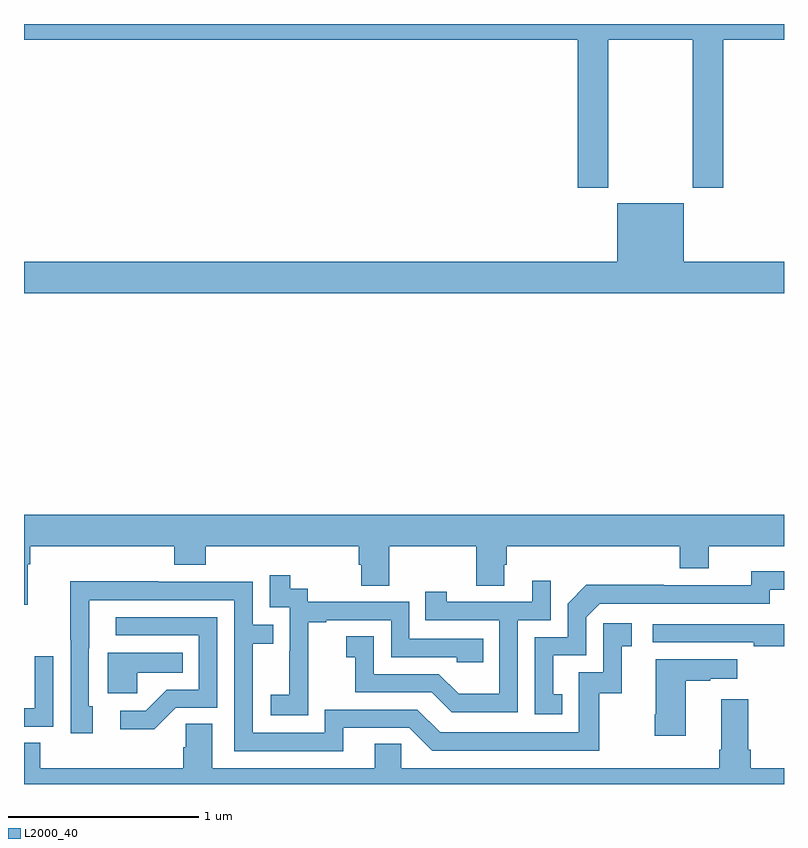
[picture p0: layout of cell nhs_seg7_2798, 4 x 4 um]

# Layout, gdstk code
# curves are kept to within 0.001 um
import gdstk
lib = gdstk.Library(unit=1e-6, precision=1e-09)
def P(c, l, *ps):  # polygons
    for p in ps: c.add(gdstk.Polygon(p, *l))
L2000_40 = (2000, 40)

nhs_seg7_2798 = lib.new_cell('nhs_seg7_2798')
P(nhs_seg7_2798, L2000_40, [(294.075,1033.916),(294.52,1033.916),(294.52,1033.137),(294.68,1033.137),(294.68,1033.916),(295,1033.916),(295,1034),(291,1034),(291,1033.916),(293.915,1033.916),(293.915,1033.137),(294.075,1033.137)],
  [(295,1032.748),(294.472,1032.748),(294.472,1033.057),(294.122,1033.057),(294.122,1032.748),(291,1032.748),(291,1032.584),(295,1032.584)],
  [(291.019,1031.156),(291.032,1031.156),(291.032,1031.252),(291.791,1031.252),(291.791,1031.153),(291.956,1031.153),(291.956,1031.252),(292.763,1031.252),(292.763,1031.154),(292.775,1031.154),(292.775,1031.044),(292.923,1031.044),(292.923,1031.252),(293.38,1031.252),(293.38,1031.044),(293.527,1031.044),(293.527,1031.154),(293.54,1031.154),(293.54,1031.252),(294.452,1031.252),(294.452,1031.135),(294.604,1031.135),(294.604,1031.252),(295,1031.252),(295,1031.416),(291,1031.416),(291,1030.943),(291.019,1030.943)],
  [(293.834,1030.473),(293.785,1030.473),(293.785,1030.677),(293.958,1030.677),(293.958,1030.878),(294.03,1030.95),(294.924,1030.95),(294.924,1031.022),(295,1031.022),(295,1031.119),(294.828,1031.119),(294.828,1031.046),(294.368,1031.046),(294.368,1031.048),(293.96,1031.048),(293.862,1030.95),(293.862,1030.773),(293.688,1030.773),(293.688,1030.368),(293.834,1030.368)],
  [(292.497,1030.567),(292.496,1030.567),(292.496,1030.851),(292.591,1030.851),(292.591,1030.863),(292.932,1030.863),(292.932,1030.668),(293.277,1030.668),(293.277,1030.641),(293.417,1030.641),(293.417,1030.764),(293.028,1030.764),(293.028,1030.959),(292.494,1030.959),(292.494,1031.028),(292.402,1031.028),(292.402,1031.098),(292.293,1031.098),(292.293,1030.929),(292.398,1030.929),(292.398,1030.7),(292.397,1030.7),(292.397,1030.471),(292.299,1030.471),(292.299,1030.361),(292.497,1030.361)],
  [(293.598,1030.863),(293.772,1030.863),(293.772,1031.071),(293.675,1031.071),(293.675,1030.959),(293.224,1030.959),(293.224,1031.011),(293.113,1031.011),(293.113,1030.863),(293.502,1030.863),(293.502,1030.474),(293.288,1030.474),(293.184,1030.578),(292.842,1030.578),(292.842,1030.777),(292.695,1030.777),(292.695,1030.667),(292.744,1030.667),(292.744,1030.482),(293.147,1030.482),(293.252,1030.377),(293.598,1030.377)],
  [(292.681,1030.296),(293.028,1030.296),(293.148,1030.176),(294.028,1030.176),(294.028,1030.478),(294.146,1030.478),(294.146,1030.725),(294.199,1030.725),(294.199,1030.846),(294.048,1030.846),(294.048,1030.587),(293.919,1030.587),(293.919,1030.272),(293.19,1030.272),(293.07,1030.392),(292.584,1030.392),(292.584,1030.269),(292.203,1030.269),(292.203,1030.738),(292.313,1030.738),(292.313,1030.839),(292.203,1030.839),(292.203,1031.064),(291.707,1031.064),(291.707,1031.066),(291.244,1031.066),(291.244,1030.759),(291.246,1030.759),(291.246,1030.266),(291.361,1030.266),(291.361,1030.41),(291.342,1030.41),(291.343,1030.968),(292.107,1030.968),(292.107,1030.173),(292.681,1030.173)],
  [(291.798,1030.401),(292.017,1030.401),(292.017,1030.878),(291.483,1030.878),(291.483,1030.782),(291.921,1030.782),(291.921,1030.497),(291.752,1030.497),(291.641,1030.386),(291.507,1030.386),(291.507,1030.289),(291.685,1030.289)],
  [(295,1030.842),(294.309,1030.842),(294.309,1030.746),(294.841,1030.746),(294.841,1030.726),(295,1030.726)],
  [(291.597,1030.586),(291.836,1030.586),(291.836,1030.69),(291.44,1030.69),(291.44,1030.478),(291.597,1030.478)],
  [(291.153,1030.672),(291.057,1030.672),(291.057,1030.398),(291,1030.398),(291,1030.302),(291.153,1030.302)],
  [(294.484,1030.543),(294.611,1030.543),(294.611,1030.553),(294.754,1030.553),(294.754,1030.657),(294.326,1030.657),(294.326,1030.366),(294.319,1030.366),(294.319,1030.254),(294.484,1030.254)],
  [(295,1030.084),(294.824,1030.084),(294.824,1030.18),(294.811,1030.18),(294.811,1030.447),(294.671,1030.447),(294.671,1030.18),(294.659,1030.18),(294.659,1030.084),(292.986,1030.084),(292.986,1030.211),(292.847,1030.211),(292.847,1030.084),(291.991,1030.084),(291.991,1030.316),(291.852,1030.316),(291.852,1030.193),(291.839,1030.193),(291.839,1030.084),(291.086,1030.084),(291.086,1030.217),(291,1030.217),(291,1030),(295,1030)])

lib.write_gds('nhs_seg7_2798.gds')
